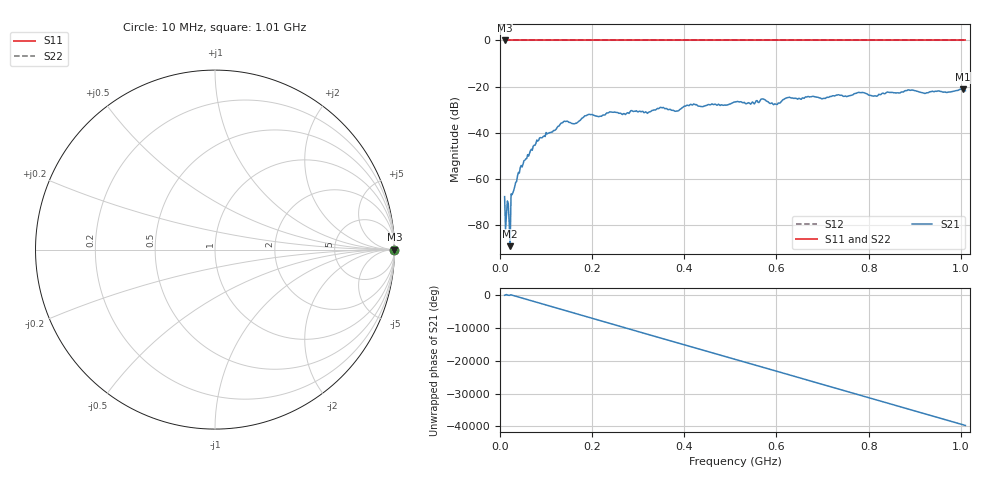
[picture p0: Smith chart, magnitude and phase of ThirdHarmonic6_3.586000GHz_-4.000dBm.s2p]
! 8/17/2025 11:55:09 AM
! C:\ANRITSUVNA\TEMP\TEMP.S2P
! CHANNEL.1
! TR.MEASUREMENT
! RAW.DATA
! RF.CORRECTION.OFF
! AVERAGING.OFF
! IF.BANDWIDTH: 5KHZ
! SWEEPTYPE:  FREQ.SWEEP(Linear)
! Reference Plane Port Info
! PORT:  PORT1  PORT2
! DISTANCE:  0  m  0  m
! TIME:  0  s  0  s
! PHASE.OFFSET:  0  deg.  0  deg.
! LOSS:  0  dB  0  dB
! REF.LOSS:  0  dB  0  dB
! REF.FREQ:  0  Hz  0  Hz
! Power Info
! POWER:  -20  dBm  -20  dBm
! EFF.POWER:  -20  dBm  -20  dBm
! SOURCE.ATTEN:  0  dB  0  dB
! TEST.ATTEN:  0  dB  0  dB
# GHZ S RI R 50.0
! FREQ.GHZ  S11RE  S11IM  S21RE  S21IM  S12RE  S12IM  S22RE  S22IM
!; PortSelection: Port_12
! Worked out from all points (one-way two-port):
!   501 points, 10 MHz to 1.01 GHz, reference 50 ohm
!   highest |S21| = -21.19 dB at 1.004 GHz (marker M1); lowest = -89.3 dB at 22 MHz (marker M2)
!   lowest |S11| = 0.0 dB at 10 MHz (marker M3)
!   |S11| at or under -10 dB: nowhere
!   |S22| runs from 0.0 to 0.0 dB; largest |S21 - S12| = 1.1
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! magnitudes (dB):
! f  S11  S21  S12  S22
! 10 MHz  0.0  -67.8  0.0  0.0
! 16 MHz  0.0  -69.7  0.0  0.0
! 22 MHz  0.0  -89.3  0.0  0.0
! 24 MHz  0.0  -66.6  0.0  0.0
! 28 MHz  0.0  -66.1  0.0  0.0
! 42 MHz  0.0  -57.5  0.0  0.0
! 82 MHz  0.0  -43.6  0.0  0.0
! 136 MHz  0.0  -35.7  0.0  0.0
! 162 MHz  0.0  -36.2  0.0  0.0
! 178 MHz  0.0  -33.7  0.0  0.0
! 344 MHz  0.0  -29.6  0.0  0.0
! 384 MHz  0.0  -30.6  0.0  0.0
! 416 MHz  0.0  -28.0  0.0  0.0
! 510 MHz  0.0  -26.7  0.0  0.0
! 570 MHz  0.0  -25.4  0.0  0.0
! 598 MHz  0.0  -27.6  0.0  0.0
! 624 MHz  0.0  -24.8  0.0  0.0
! 678 MHz  0.0  -24.2  0.0  0.0
! 814 MHz  0.0  -24.0  0.0  0.0
! 844 MHz  0.0  -22.5  0.0  0.0
! 1.004 GHz  0.0  -21.2  0.0  0.0
! 1.01 GHz  0.0  -21.8  0.0  0.0
